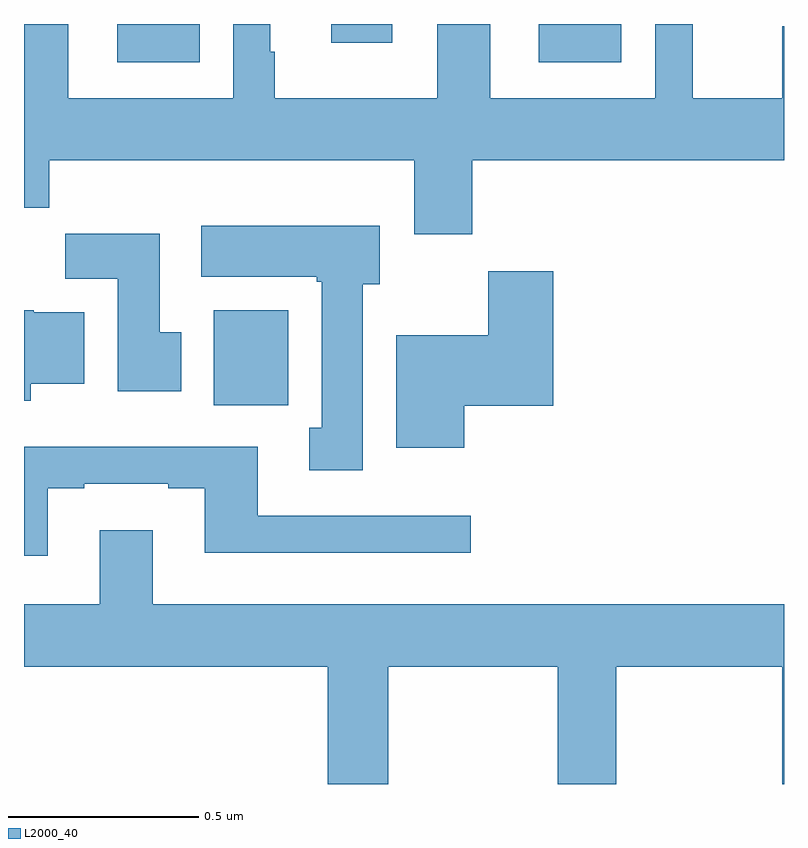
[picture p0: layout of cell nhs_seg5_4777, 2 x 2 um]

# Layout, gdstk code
import gdstk
lib = gdstk.Library(unit=1e-6, precision=1e-09)
def R(c, l, rs):  # rectangles x0, y0, x1, y1
    for r in rs: c.add(gdstk.rectangle(r[:2], r[2:], *l))
def P(c, l, *ps):  # polygons
    for p in ps: c.add(gdstk.Polygon(p, *l))
L2000_40 = (2000, 40)

nhs_seg5_4777 = lib.new_cell('nhs_seg5_4777')
R(nhs_seg5_4777, L2000_40, [(175.499,842.796,175.695,843.046), (175.245,843.698,175.462,843.799), (176.355,843.698,176.572,843.799), (175.808,843.75,175.969,843.799)])
P(nhs_seg5_4777, L2000_40, [(176.18,843.44),(177,843.44),(177,843.793),(176.996,843.793),(176.996,843.604),(176.76,843.604),(176.76,843.799),(176.661,843.799),(176.661,843.604),(176.227,843.604),(176.227,843.799),(176.087,843.799),(176.087,843.604),(175.66,843.604),(175.66,843.726),(175.648,843.726),(175.648,843.799),(175.551,843.799),(175.551,843.604),(175.117,843.604),(175.117,843.799),(175,843.799),(175,843.316),(175.067,843.316),(175.067,843.44),(176.027,843.44),(176.027,843.246),(176.18,843.246)],
  [(175.891,843.114),(175.936,843.114),(175.936,843.268),(175.467,843.268),(175.467,843.134),(175.771,843.134),(175.771,843.121),(175.784,843.121),(175.784,842.737),(175.751,842.737),(175.751,842.625),(175.891,842.625)],
  [(175.414,842.988),(175.357,842.988),(175.357,843.247),(175.108,843.247),(175.108,843.128),(175.247,843.128),(175.247,842.832),(175.414,842.832)],
  [(176.158,842.795),(176.393,842.795),(176.393,843.148),(176.222,843.148),(176.222,842.98),(175.979,842.98),(175.979,842.684),(176.158,842.684)],
  [(175.018,842.852),(175.159,842.852),(175.159,843.04),(175.026,843.04),(175.026,843.046),(175,843.046),(175,842.808),(175.018,842.808)],
  [(175.063,842.577),(175.159,842.577),(175.159,842.589),(175.379,842.589),(175.379,842.577),(175.475,842.577),(175.475,842.408),(176.176,842.408),(176.176,842.505),(175.615,842.505),(175.615,842.686),(175,842.686),(175,842.4),(175.063,842.4)],
  [(175.199,842.467),(175.199,842.272),(175,842.272),(175,842.108),(175.799,842.108),(175.799,841.799),(175.959,841.799),(175.959,842.108),(176.404,842.108),(176.404,841.799),(176.559,841.799),(176.559,842.108),(176.996,842.108),(176.996,841.799),(177,841.799),(177,842.272),(175.339,842.272),(175.339,842.467)])

lib.write_gds('nhs_seg5_4777.gds')
